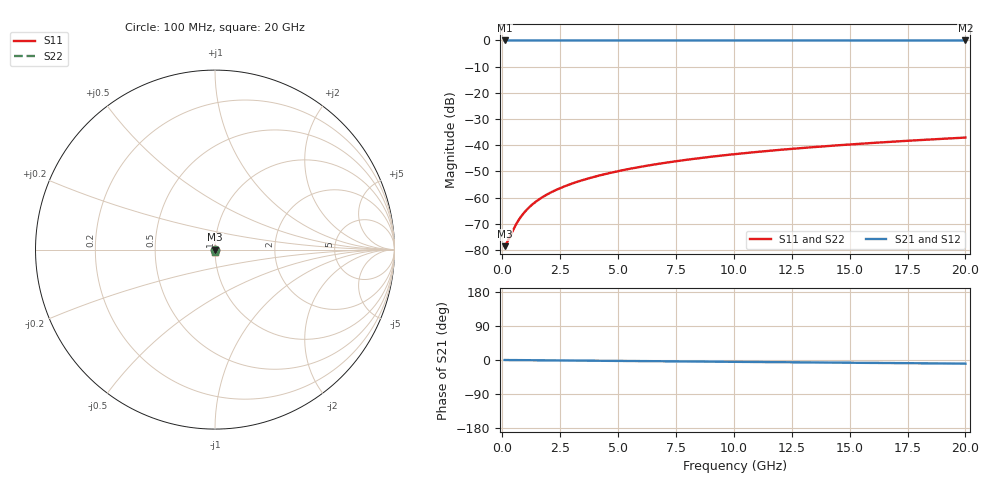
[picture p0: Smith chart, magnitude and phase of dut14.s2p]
! Touchstone file exported from HFSS 2026.1.0
!  File:  C:/ffzhzh/LocalFiles/Ansys_Project_Files/temp_train_TSV_14_1782957988_6388.aedt
!  Generated:  10:07:55 AM Jul  2, 2026
!  Design:  TSV
!  Project:  temp_train_TSV_14_1782957988_6388
! Variables:
!  h_bsmrdl = 2um
!  h_ox = 20um
!  h_rdl = 5um
!  h_sub = 98.88um
!  h_tmrdl = 5um
!  h_tsv = 98.88um
!  h_via = 3um
!  l_bsmrdl = 300um
!  l_sub = 423.76um
!  l_tmrdl = 200um
!  m_sub = 200um
!  pitch = 44.13um
!  r_tsv = 11.88um
!  s_tmrdl = 10um
!  w_bsmrdl = 18um
!  w_sub = 500um
!  w_tmrdl = 12um
!  x_tsv_center1 = 206um
!  x_tsv_center2 = 524um
!  x_tsv_center3 = 736um
!  x_tsv_center4 = 1054um
!  x_tsv_center5 = 1266um
!  x_tsv_center6 = 1584um
# GHz S MA R 50.000000
! Terminal data exported
! Port[1] = TSV1_1_T1
! Port[2] = TSV1_1_T2
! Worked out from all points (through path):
!   200 points, 100 MHz to 20 GHz, reference 50 ohm
!   highest |S21| = 0.00 dB at 100 MHz (marker M1); lowest = 0.0 dB at 20 GHz (marker M2)
!   group delay of S21, straight-line fit = 1.33 ps
!   lowest |S11| = -78.5 dB at 100 MHz (marker M3), VSWR 1.00, Z = 50 - j0.00184 ohm
!   |S11| at or under -10 dB: start of sweep to end of sweep
!   |S22| runs from -78.5 to -37.1 dB; largest |S21 - S12| = 2.4e-15
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0.1  0.0001185 -8.9  0.9999 -0.1  0.9999 -0.1  0.0001185 -8.9
! Gamma 0 0 0 0
! Port Impedance 50 0 50 0
0.2  0.0001387 -17.1  0.9999 -0.1  0.9999 -0.1  0.0001387 -17.1
0.5  0.0002595 -35.6  0.9998 -0.3  0.9998 -0.3  0.0002595 -35.6
0.7  0.0003699 -44.3  0.9997 -0.3  0.9997 -0.3  0.0003699 -44.3
0.8  0.0004293 -47.8  0.9997 -0.4  0.9997 -0.4  0.0004293 -47.8
1  0.0005527 -53.6  0.9997 -0.5  0.9997 -0.5  0.0005527 -53.6
1.3  0.0007429 -59.9  0.9996 -0.6  0.9996 -0.6  0.0007429 -59.9
1.5  0.0008712 -63.1  0.9996 -0.7  0.9996 -0.7  0.0008711 -63.1
1.7  0.0009999 -65.6  0.9996 -0.8  0.9996 -0.8  0.0009999 -65.6
2.2  0.001324 -70.1  0.9995 -1.1  0.9995 -1.1  0.001324 -70.1
2.8  0.001716 -73.6  0.9995 -1.4  0.9995 -1.4  0.001716 -73.6
3.5  0.00218 -76.3  0.9994 -1.7  0.9994 -1.7  0.00218 -76.3
4.2  0.002652 -78.3  0.9994 -2.0  0.9994 -2.0  0.002652 -78.3
5  0.0032 -79.9  0.9993 -2.4  0.9993 -2.4  0.0032 -79.9
5.9  0.003825 -81.5  0.9992 -2.8  0.9992 -2.8  0.003825 -81.5
6.8  0.004457 -82.8  0.9992 -3.3  0.9992 -3.3  0.004457 -82.8
8.3  0.005521 -84.6  0.9991 -4.0  0.9991 -4.0  0.005521 -84.6
10.1  0.006808 -86.5  0.999 -4.9  0.999 -4.9  0.006808 -86.5
11.7  0.007958 -88.0  0.9989 -5.6  0.9989 -5.6  0.007958 -88.0
13.4  0.009185 -89.3  0.9988 -6.4  0.9988 -6.4  0.009185 -89.3
16.7  0.01158 -91.7  0.9987 -8.0  0.9987 -8.0  0.01158 -91.7
20  0.014 -93.9  0.9985 -9.6  0.9985 -9.6  0.014 -93.9
